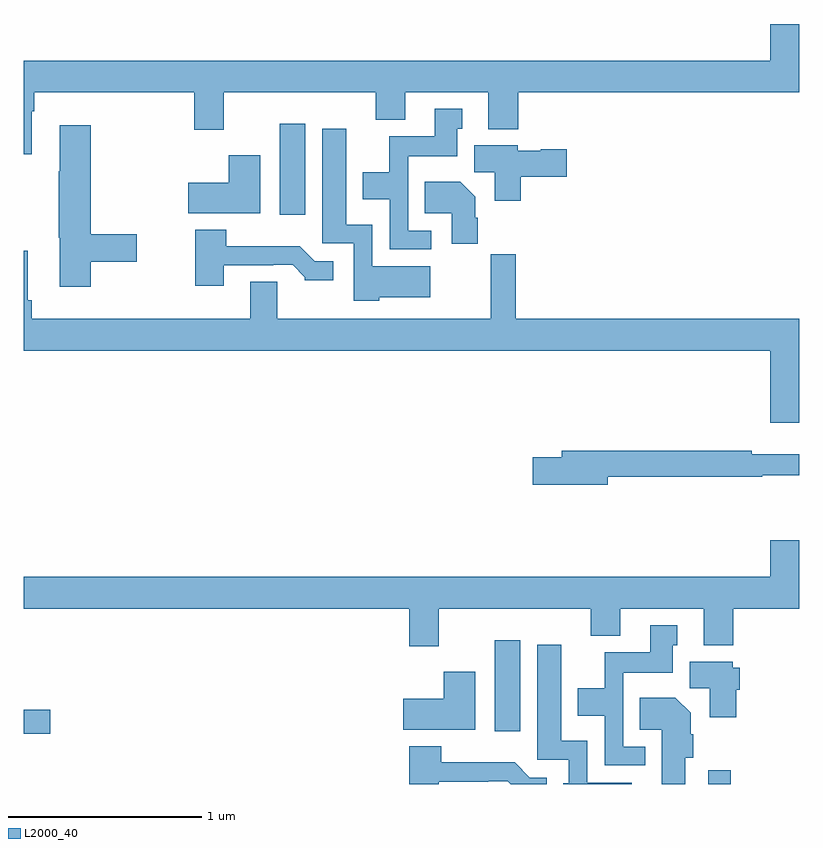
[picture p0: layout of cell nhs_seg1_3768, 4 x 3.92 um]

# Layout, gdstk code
import gdstk
lib = gdstk.Library(unit=1e-6, precision=1e-09)
def R(c, l, rs):  # rectangles x0, y0, x1, y1
    for r in rs: c.add(gdstk.rectangle(r[:2], r[2:], *l))
def P(c, l, *ps):  # polygons
    for p in ps: c.add(gdstk.Polygon(p, *l))
L2000_40 = (2000, 40)

nhs_seg1_3768 = lib.new_cell('nhs_seg1_3768')
R(nhs_seg1_3768, L2000_40, [(320.532,512.199,320.648,512.269), (317,512.459,317.137,512.581), (319.43,512.472,319.561,512.941), (318.32,515.136,318.451,515.605)])
P(nhs_seg1_3768, L2000_40, [(317.041,515.672),(317.054,515.672),(317.054,515.768),(317.879,515.768),(317.879,515.574),(318.031,515.574),(318.031,515.768),(318.815,515.768),(318.815,515.627),(318.967,515.627),(318.967,515.768),(319.397,515.768),(319.397,515.579),(319.55,515.579),(319.55,515.768),(321,515.768),(321,516.121),(320.852,516.121),(320.852,515.932),(317,515.932),(317,515.448),(317.041,515.448)],
  [(319.102,515.055),(318.984,515.055),(318.984,515.438),(319.237,515.438),(319.237,515.58),(319.261,515.58),(319.261,515.683),(319.121,515.683),(319.121,515.542),(318.886,515.542),(318.886,515.356),(318.749,515.356),(318.749,515.216),(318.888,515.216),(318.888,514.959),(319.102,514.959)],
  [(317.345,514.894),(317.581,514.894),(317.581,515.036),(317.345,515.036),(317.345,515.599),(317.186,515.599),(317.186,515.36),(317.179,515.36),(317.179,515.019),(317.186,515.019),(317.186,514.764),(317.345,514.764)],
  [(318.834,514.712),(319.096,514.712),(319.096,514.87),(318.798,514.87),(318.798,515.086),(318.664,515.086),(318.664,515.581),(318.539,515.581),(318.539,514.989),(318.702,514.989),(318.702,514.694),(318.834,514.694)],
  [(319.565,515.333),(319.801,515.333),(319.801,515.475),(319.668,515.475),(319.668,515.467),(319.548,515.467),(319.548,515.494),(319.325,515.494),(319.325,515.356),(319.43,515.356),(319.43,515.208),(319.565,515.208)],
  [(318.22,515.443),(318.056,515.443),(318.056,515.302),(317.847,515.302),(317.847,515.144),(318.22,515.144)],
  [(319.343,515.12),(319.33,515.12),(319.33,515.23),(319.252,515.308),(319.069,515.308),(319.069,515.144),(319.208,515.144),(319.208,514.986),(319.343,514.986)],
  [(318.031,514.875),(318.287,514.875),(318.287,514.878),(318.386,514.878),(318.45,514.814),(318.45,514.799),(318.595,514.799),(318.595,514.896),(318.501,514.896),(318.423,514.975),(318.044,514.975),(318.044,515.059),(317.884,515.059),(317.884,514.77),(318.031,514.77)],
  [(321,514.6),(319.538,514.6),(319.538,514.933),(319.41,514.933),(319.41,514.6),(318.307,514.6),(318.307,514.79),(318.167,514.79),(318.167,514.6),(317.039,514.6),(317.039,514.696),(317.02,514.696),(317.02,514.951),(317,514.951),(317,514.436),(320.852,514.436),(320.852,514.062),(321,514.062)],
  [(320.014,513.784),(320.81,513.784),(320.81,513.792),(321,513.792),(321,513.901),(320.756,513.901),(320.756,513.92),(319.775,513.92),(319.775,513.884),(319.626,513.884),(319.626,513.742),(320.014,513.742)],
  [(319.141,513.104),(319.925,513.104),(319.925,512.963),(320.077,512.963),(320.077,513.104),(320.507,513.104),(320.507,512.915),(320.66,512.915),(320.66,513.104),(321,513.104),(321,513.457),(320.852,513.457),(320.852,513.268),(317,513.268),(317,513.104),(318.989,513.104),(318.989,512.91),(319.141,512.91)],
  [(320.206,512.391),(320.094,512.391),(320.094,512.774),(320.347,512.774),(320.347,512.916),(320.371,512.916),(320.371,513.019),(320.231,513.019),(320.231,512.878),(319.996,512.878),(319.996,512.692),(319.859,512.692),(319.859,512.552),(319.998,512.552),(319.998,512.295),(320.206,512.295)],
  [(320.137,512.206),(319.908,512.206),(319.908,512.422),(319.774,512.422),(319.774,512.917),(319.649,512.917),(319.649,512.325),(319.812,512.325),(319.812,512.202),(319.784,512.202),(319.784,512.199),(320.137,512.199)],
  [(320.675,512.685),(320.693,512.685),(320.693,512.799),(320.658,512.799),(320.658,512.83),(320.435,512.83),(320.435,512.692),(320.54,512.692),(320.54,512.544),(320.675,512.544)],
  [(319.33,512.779),(319.166,512.779),(319.166,512.638),(318.957,512.638),(318.957,512.48),(319.33,512.48)],
  [(320.413,512.334),(320.453,512.334),(320.453,512.456),(320.44,512.456),(320.44,512.566),(320.362,512.644),(320.179,512.644),(320.179,512.48),(320.291,512.48),(320.291,512.199),(320.413,512.199)],
  [(319.141,512.211),(319.397,512.211),(319.397,512.214),(319.496,512.214),(319.511,512.199),(319.699,512.199),(319.699,512.232),(319.611,512.232),(319.533,512.311),(319.154,512.311),(319.154,512.395),(318.989,512.395),(318.989,512.199),(319.141,512.199)])

lib.write_gds('nhs_seg1_3768.gds')
